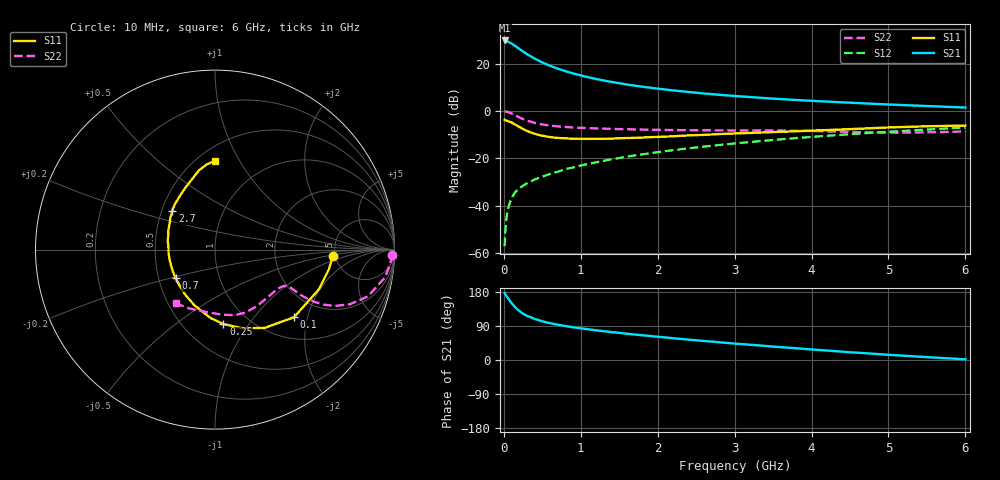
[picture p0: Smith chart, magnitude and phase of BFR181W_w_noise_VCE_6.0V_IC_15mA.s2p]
! (c) 2017  Infineon Technologies AG, Munich
! Infineon Technologies  Discrete & RF Semiconductors
! BFR181W
! VCE =  6.0 V,  IC =  15 mA
! Common Emitter S-Parameters:  Jan 2017
# GHz  S  MA  R  50
!  f  S11  S21  S12  S22
! GHz  MAG  ANG  MAG  ANG  MAG  ANG  MAG  ANG
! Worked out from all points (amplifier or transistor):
!   77 points, 10 MHz to 6 GHz, reference 50 ohm
!   highest |S21| = 29.8 dB at 10 MHz (marker M1)
!   |S21| within 3 dB of that: start of sweep to 177 MHz
!   unconditionally stable (mu >= 1): 861.2 MHz to 2.722 GHz
!   at 130 MHz: K = 0.34, MSG = 31.5 dB, |S12| = -35.2 dB
!   at 2.2 GHz: K = 1.04, MAG = 11.4 dB, |S12| = -16.5 dB
!   at 6 GHz: K = 0.84, MSG = 4.2 dB, |S12| = -7.0 dB
!   lowest NFmin = 1.47 dB at 450 MHz
!   S11 on the Smith chart (normalised r, x): 10 MHz: 4.74, -0.63; 100 MHz: 1.46, -1.65; 250 MHz: 0.76, -0.77; 700 MHz: 0.61, -0.21; 2.7 GHz: 0.57, +0.27; 6 GHz: 0.61, +0.80
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0.01  0.657 -3.3  31.02 176.8  0.0014 96.7  0.9878 -1.6
0.02  0.6445 -9.7  30.55 173.0  0.003 96.2  0.9835 -3.5
0.05  0.62 -20.9  29.5 164.1  0.0082 78.7  0.9611 -9.2
0.1  0.5794 -40.6  26.8 149.9  0.0142 74.0  0.8919 -16.9
0.15  0.5166 -57.6  23.66 138.6  0.0196 69.1  0.8102 -22.1
0.2  0.464 -70.8  20.61 129.3  0.0232 67.2  0.7375 -25.2
0.25  0.4177 -83.5  18.1 122.1  0.0266 64.6  0.6778 -26.9
0.3  0.3821 -93.7  15.96 116.5  0.0297 63.7  0.6287 -27.7
0.4  0.3317 -109.9  12.84 108.2  0.0358 64.9  0.5631 -28.0
0.5  0.3016 -123.3  10.62 102.1  0.0411 65.0  0.5213 -27.7
0.6  0.2815 -134.5  9.054 97.2  0.0469 66.1  0.4943 -27.1
0.7  0.2711 -143.9  7.861 93.2  0.0523 68.0  0.475 -26.8
0.9  0.2609 -159.4  6.229 86.4  0.0646 69.1  0.4505 -27.0
1.1  0.2588 -171.2  5.173 81.0  0.0768 70.1  0.4363 -27.7
1.3  0.2593 178.5  4.414 75.9  0.0888 70.2  0.4255 -29.1
1.5  0.2667 170.6  3.867 71.6  0.102 70.5  0.4162 -31.1
2.1  0.2887 151.8  2.851 59.5  0.1423 69.0  0.3984 -39.6
2.7  0.3202 138.0  2.281 48.6  0.1845 66.4  0.3913 -50.2
3.1  0.3405 129.9  2.03 41.9  0.2142 64.0  0.3892 -57.4
4.1  0.3912 113.1  1.615 26.4  0.2922 57.0  0.3763 -75.8
5.1  0.4558 100.1  1.356 12.5  0.3734 48.4  0.35 -101.4
6  0.4953 89.7  1.188 1.8  0.448 39.7  0.3717 -126.3
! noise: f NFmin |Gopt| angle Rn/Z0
0.45  1.47  0.04  14  0.21
0.9  1.52  0.04  31  0.21
1.9  1.95  0.13  -139  0.22
2.4  2.2  0.16  -109  0.28
